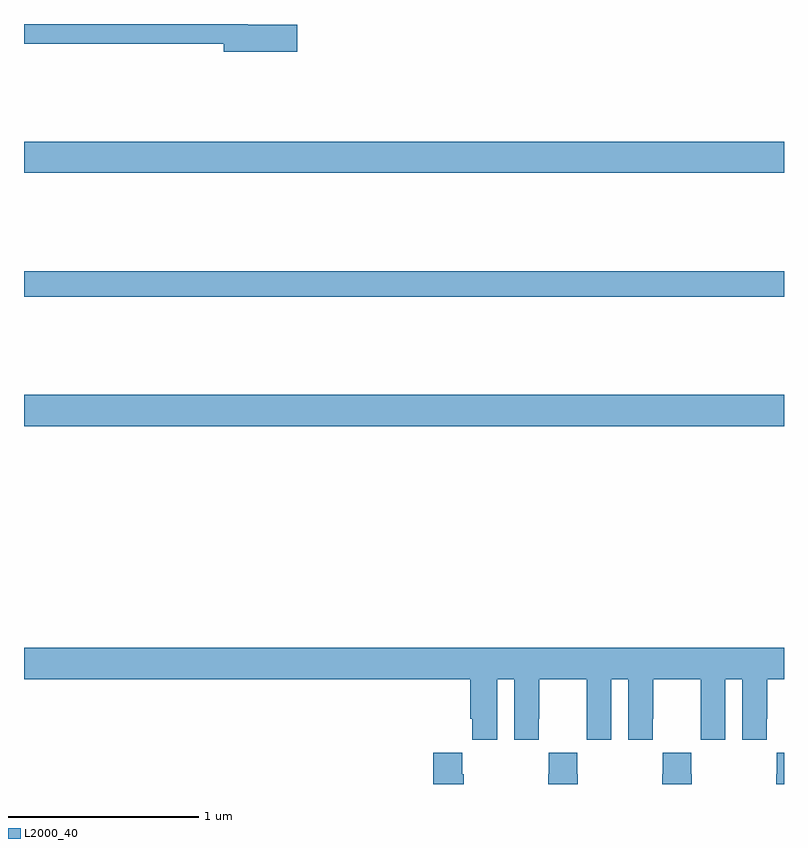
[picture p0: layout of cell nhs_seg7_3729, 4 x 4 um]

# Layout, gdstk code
import gdstk
lib = gdstk.Library(unit=1e-6, precision=1e-09)
def R(c, l, rs):  # rectangles x0, y0, x1, y1
    for r in rs: c.add(gdstk.rectangle(r[:2], r[2:], *l))
def P(c, l, *ps):  # polygons
    for p in ps: c.add(gdstk.Polygon(p, *l))
L2000_40 = (2000, 40)

nhs_seg7_3729 = lib.new_cell('nhs_seg7_3729')
R(nhs_seg7_3729, L2000_40, [(347,1065.884,351,1066.048), (347,1066.564,351,1066.7), (347,1067.216,351,1067.38)])
P(nhs_seg7_3729, L2000_40, [(348.439,1067.996),(348.178,1067.996),(348.178,1068),(347,1068),(347,1067.896),(348.05,1067.896),(348.05,1067.854),(348.439,1067.854)],
  [(349.492,1064.552),(349.58,1064.552),(349.58,1064.232),(349.71,1064.232),(349.71,1064.344),(349.711,1064.344),(349.711,1064.552),(349.961,1064.552),(349.961,1064.344),(349.962,1064.344),(349.962,1064.232),(350.092,1064.232),(350.092,1064.552),(350.18,1064.552),(350.18,1064.232),(350.31,1064.232),(350.31,1064.344),(350.311,1064.344),(350.311,1064.552),(350.561,1064.552),(350.561,1064.344),(350.562,1064.344),(350.562,1064.232),(350.692,1064.232),(350.692,1064.552),(350.78,1064.552),(350.78,1064.232),(350.91,1064.232),(350.91,1064.344),(350.911,1064.344),(350.911,1064.552),(351,1064.552),(351,1064.716),(347,1064.716),(347,1064.552),(349.349,1064.552),(349.349,1064.344),(349.358,1064.344),(349.358,1064.232),(349.492,1064.232)],
  [(349.314,1064.051),(349.307,1064.051),(349.307,1064.164),(349.154,1064.164),(349.154,1064),(349.314,1064)],
  [(349.914,1064.051),(349.911,1064.051),(349.911,1064.164),(349.761,1064.164),(349.761,1064.051),(349.759,1064.051),(349.759,1064),(349.914,1064)],
  [(350.514,1064.051),(350.511,1064.051),(350.511,1064.164),(350.361,1064.164),(350.361,1064.051),(350.359,1064.051),(350.359,1064),(350.514,1064)],
  [(351,1064.164),(350.961,1064.164),(350.961,1064.051),(350.959,1064.051),(350.959,1064),(351,1064)])

lib.write_gds('nhs_seg7_3729.gds')
